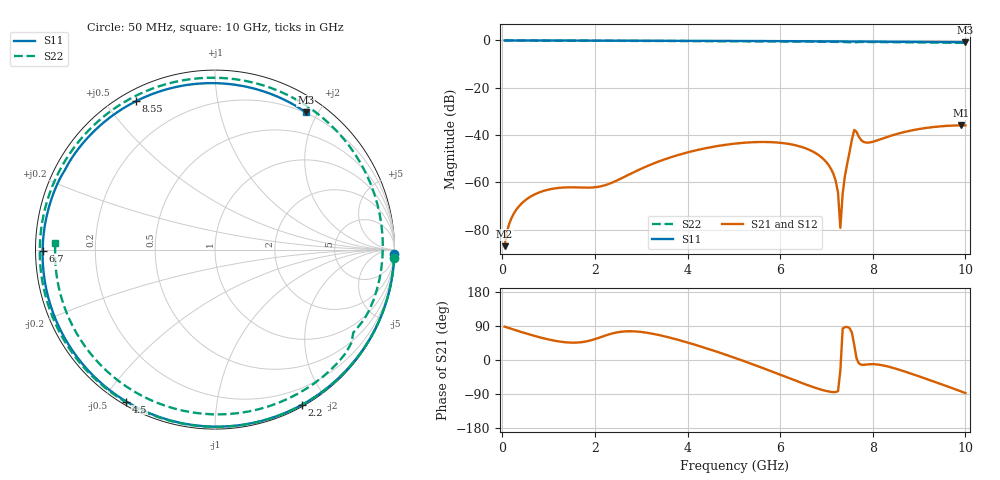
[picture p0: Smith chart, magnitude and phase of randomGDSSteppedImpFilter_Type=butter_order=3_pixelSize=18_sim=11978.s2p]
! freq	dB(S11)	phase(S11)	dB(S12)	phase(S12)
!  dB(S21)	phase(S21)	dB(S22)	phase(S22)
!S-par simulation data
#  GHz  S  DB  R 50
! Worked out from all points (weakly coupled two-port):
!   200 points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, 50 MHz to 10 GHz, reference 50 ohm
!   highest |S21| = -35.93 dB at 9.9 GHz (marker M1); lowest = -87.0 dB at 50 MHz (marker M2)
!   lowest |S11| = -0.8 dB at 10 GHz (marker M3), VSWR 23.18, Z = 9.56 + j92.2 ohm
!   |S11| at or under -10 dB: nowhere
!   |S22| runs from -1.0 to 0.0 dB; largest |S21 - S12| = 0
!   S11 on the Smith chart (normalised r, x): 50 MHz: 1, -80; 2.2 GHz: 0.02, -1.71; 4.5 GHz: 0.01, -0.57; 6.7 GHz: 0.02, -0.00; 8.55 GHz: 0.04, +0.60; 10 GHz: 0.19, +1.84
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0.05  -0.00 -1.4  -87.04 88.0  -87.04 88.0  -0.01 -2.6
0.35  -0.01 -9.9  -70.39 76.2  -70.39 76.2  -0.02 -18.2
0.65  -0.02 -18.3  -65.63 65.2  -65.63 65.2  -0.04 -33.5
1.75  -0.06 -48.6  -62.26 47.7  -62.26 47.7  -0.10 -86.3
2.2  -0.08 -60.7  -61.36 63.5  -61.36 63.5  -0.12 -106.2
3.4  -0.12 -92.1  -51.05 65.4  -51.05 65.4  -0.17 -156.0
4.5  -0.17 -120.2  -45.18 27.2  -45.18 27.2  -0.24 157.8
5.05  -0.21 -134.4  -43.60 4.4  -43.60 4.4  -0.29 132.2
5.95  -0.28 -158.3  -43.21 -36.3  -43.21 -36.3  -0.39 83.3
6.7  -0.35 -179.6  -46.95 -70.9  -46.95 -70.9  -0.50 33.8
7.15  -0.40 166.7  -56.47 -84.7  -56.47 -84.7  -0.58 0.9
7.25  -0.41 163.5  -64.45 -82.1  -64.45 -82.1  -0.61 -6.5
7.3  -0.42 162.0  -79.29 -27.3  -79.29 -27.3  -0.62 -10.3
7.35  -0.42 160.3  -64.81 82.9  -64.81 82.9  -0.64 -14.0
7.4  -0.43 158.7  -57.20 86.9  -57.20 86.9  -0.66 -17.8
7.6  -0.48 152.2  -37.90 39.2  -37.90 39.2  -0.93 -31.1
7.85  -0.48 143.7  -43.20 -12.1  -43.20 -12.1  -0.64 -49.8
8.35  -0.54 125.6  -40.58 -17.9  -40.58 -17.9  -0.73 -84.7
8.55  -0.57 117.9  -39.41 -24.9  -39.41 -24.9  -0.76 -97.8
9.25  -0.66 89.4  -36.77 -53.9  -36.77 -53.9  -0.88 -140.3
9.9  -0.74 60.9  -35.93 -82.6  -35.93 -82.6  -0.99 -176.8
10  -0.75 56.5  -35.94 -87.4  -35.94 -87.4  -1.01 177.7
